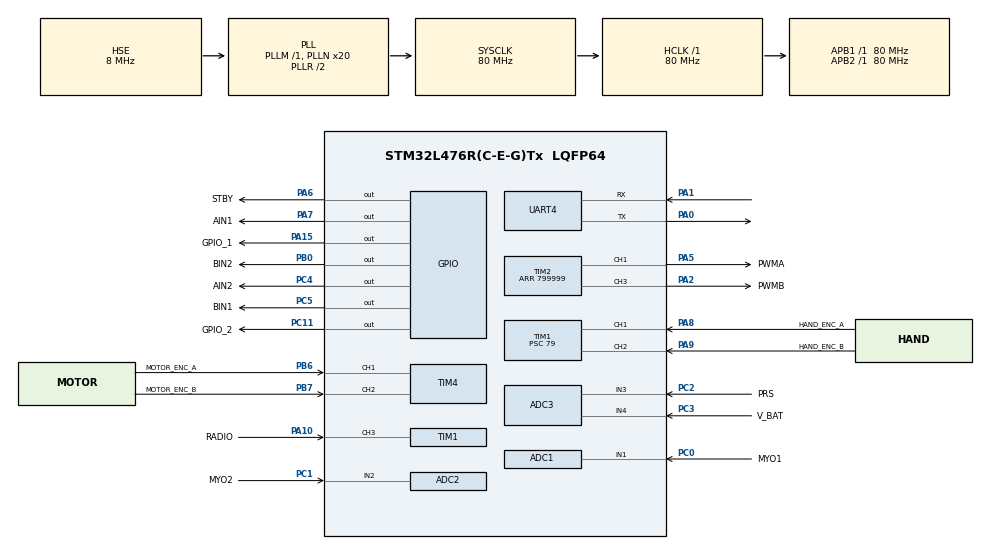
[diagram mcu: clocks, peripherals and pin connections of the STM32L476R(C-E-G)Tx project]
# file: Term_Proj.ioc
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ADC1.Channel-0\#ChannelRegularConversion=ADC_CHANNEL_1
ADC1.NbrOfConversionFlag=1
ADC1.OffsetNumber-0\#ChannelRegularConversion=ADC_OFFSET_NONE
ADC1.Rank-0\#ChannelRegularConversion=1
ADC1.SamplingTime-0\#ChannelRegularConversion=ADC_SAMPLETIME_2CYCLES_5
ADC1.master=1
ADC2.Channel-1\#ChannelRegularConversion=ADC_CHANNEL_2
ADC2.NbrOfConversionFlag=1
ADC2.OffsetNumber-1\#ChannelRegularConversion=ADC_OFFSET_NONE
ADC2.Rank-1\#ChannelRegularConversion=1
ADC2.SamplingTime-1\#ChannelRegularConversion=ADC_SAMPLETIME_2CYCLES_5
ADC3.Channel-0\#ChannelRegularConversion=ADC_CHANNEL_4
ADC3.NbrOfConversionFlag=1
ADC3.OffsetNumber-0\#ChannelRegularConversion=ADC_OFFSET_NONE
ADC3.Rank-0\#ChannelRegularConversion=1
ADC3.SamplingTime-0\#ChannelRegularConversion=ADC_SAMPLETIME_2CYCLES_5
Mcu.Family=STM32L4
Mcu.Name=STM32L476R(C-E-G)Tx
Mcu.Package=LQFP64
NVIC.PriorityGroup=NVIC_PRIORITYGROUP_4
NVIC.TIM1_CC_IRQn=true\:0\:0\:false\:false\:true\:true\:true\:true
PA0.Mode=Asynchronous
PA0.Signal=UART4_TX
PA1.Mode=Asynchronous
PA1.Signal=UART4_RX
PA10.GPIO_Label=RADIO
PA10.Signal=S_TIM1_CH3
PA13\ (JTMS-SWDIO).Mode=Trace_Asynchronous_SW
PA13\ (JTMS-SWDIO).Signal=SYS_JTMS-SWDIO
PA14\ (JTCK-SWCLK).Mode=Trace_Asynchronous_SW
PA14\ (JTCK-SWCLK).Signal=SYS_JTCK-SWCLK
PA15\ (JTDI).GPIO_Label=GPIO_1
PA15\ (JTDI).Signal=GPIO_Output
PA2.GPIO_Label=PWMB
PA2.Signal=S_TIM2_CH3
PA5.GPIO_Label=PWMA
PA5.Signal=S_TIM2_CH1
PA6.GPIO_Label=STBY
PA6.Signal=GPIO_Output
PA7.GPIO_Label=AIN1
PA7.Signal=GPIO_Output
PA8.GPIO_Label=HAND_ENC_A
PA8.Signal=S_TIM1_CH1
PA9.GPIO_Label=HAND_ENC_B
PA9.Signal=S_TIM1_CH2
PB0.GPIO_Label=BIN2
PB0.Signal=GPIO_Output
PB3\ (JTDO-TRACESWO).Mode=Trace_Asynchronous_SW
PB3\ (JTDO-TRACESWO).Signal=SYS_JTDO-SWO
PB6.GPIO_Label=MOTOR_ENC_A
PB6.Signal=S_TIM4_CH1
PB7.GPIO_Label=MOTOR_ENC_B
PB7.Signal=S_TIM4_CH2
PC0.GPIO_Label=MYO1
PC0.Signal=ADCx_IN1
PC1.GPIO_Label=MYO2
PC1.Signal=ADCx_IN2
PC11.GPIO_Label=GPIO_2
PC11.Signal=GPIO_Output
PC2.GPIO_Label=PRS
PC2.Signal=ADCx_IN3
PC3.GPIO_Label=V_BAT
PC3.Signal=ADCx_IN4
PC4.GPIO_Label=AIN2
PC4.Signal=GPIO_Output
PC5.GPIO_Label=BIN1
PC5.Signal=GPIO_Output
PH0-OSC_IN\ (PH0).Mode=HSE-External-Oscillator
PH0-OSC_IN\ (PH0).Signal=RCC_OSC_IN
PH1-OSC_OUT\ (PH1).Mode=HSE-External-Oscillator
PH1-OSC_OUT\ (PH1).Signal=RCC_OSC_OUT
ProjectManager.HeapSize=0x200
ProjectManager.StackSize=0x400
ProjectManager.TargetToolchain=STM32CubeIDE
RCC.ADCFreq_Value=32000000
RCC.AHBFreq_Value=80000000
RCC.APB1Freq_Value=80000000
RCC.APB1TimFreq_Value=80000000
RCC.APB2Freq_Value=80000000
RCC.APB2TimFreq_Value=80000000
RCC.CortexFreq_Value=80000000
RCC.HCLKFreq_Value=80000000
RCC.HSE_VALUE=8000000
RCC.HSI_VALUE=16000000
RCC.LSE_VALUE=32768
RCC.MSI_VALUE=4000000
RCC.PLLN=20
RCC.PLLSourceVirtual=RCC_PLLSOURCE_HSE
RCC.SYSCLKFreq_VALUE=80000000
RCC.SYSCLKSource=RCC_SYSCLKSOURCE_PLLCLK
RCC.USBFreq_Value=32000000
RCC.VCOOutputFreq_Value=160000000
SH.ADCx_IN1.0=ADC1_IN1,IN1-Single-Ended
SH.ADCx_IN2.0=ADC2_IN2,IN2-Single-Ended
SH.ADCx_IN3.0=ADC3_IN3,IN3-Single-Ended
SH.ADCx_IN4.0=ADC3_IN4,IN4-Single-Ended
SH.S_TIM1_CH1.0=TIM1_CH1,Encoder_Interface
SH.S_TIM1_CH2.0=TIM1_CH2,Encoder_Interface
SH.S_TIM1_CH3.0=TIM1_CH3,Input_Capture3_from_TI3
SH.S_TIM2_CH1.0=TIM2_CH1,PWM Generation1 CH1
SH.S_TIM2_CH3.0=TIM2_CH3,PWM Generation3 CH3
SH.S_TIM4_CH1.0=TIM4_CH1,Encoder_Interface
SH.S_TIM4_CH2.0=TIM4_CH2,Encoder_Interface
TIM1.Channel-Input_Capture3_from_TI3=TIM_CHANNEL_3
TIM1.Channel-Input_Capture4_from_TI3_63=TIM_CHANNEL_4
TIM1.ICPolarity_CH4=TIM_INPUTCHANNELPOLARITY_FALLING
TIM1.Prescaler=79
TIM2.Channel-PWM\ Generation1\ CH1=TIM_CHANNEL_1
TIM2.Channel-PWM\ Generation3\ CH3=TIM_CHANNEL_3
TIM2.Period=799999
VP_TIM1_VS_indirect_ch3.Mode=Input_Capture4_from_TI3_63
board=custom

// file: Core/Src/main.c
/* USER CODE BEGIN Header */
/**
  ******************************************************************************
  * @file           : main.c
  * @brief          : Main program body for the ME 507 term project. The main contents of this file is the finite state machine that
  * 				  controls the prosthetic hand operation. This includes the tasks to open and close the hand, spin the hand, and
  * 				  gather an interpret data from the myoelectric and pressure sensors. Lastly, there is a task to check for an
  * 				  emergency stop signal from a radio transmitter device.
  *
  ******************************************************************************
  * @attention
  *
  * Copyright (c) 2024 STMicroelectronics.
  * All rights reserved.
  *
  * This software is licensed under terms that can be found in the LICENSE file
  * in the root directory of this software component.
  * If no LICENSE file comes with this software, it is provided AS-IS.
  *
  ******************************************************************************
  */
/* USER CODE END Header */
#include "main.h"

/* USER CODE BEGIN Includes */
#include "controller.h"
#include "radio.h"
#include "myo.h"
#include "encoder_reader.h"
#include <stdio.h>
#include "stm32l4xx_hal.h"
#include <stdint.h>
#include <string.h>
#include <ctype.h>
#include <stdlib.h>

/* USER CODE END Includes */

ADC_HandleTypeDef hadc1;
ADC_HandleTypeDef hadc2;
ADC_HandleTypeDef hadc3;

TIM_HandleTypeDef htim1;
TIM_HandleTypeDef htim2;
TIM_HandleTypeDef htim4;

UART_HandleTypeDef huart4;

/* USER CODE BEGIN PV */

//initialize all objects

//create motor objects

motor_t hand_mot = {.pwm_val    = 0,
			.pwm_channel = TIM_CHANNEL_1,
			.hal_tim = &htim2,
			.in_pin_1 = AIN1_Pin,
			.in_pin_2 = AIN2_Pin,
			.stby_pin = STBY_Pin,
			.port_in_1 = GPIOA,
			.port_in_2 = GPIOC,
			.port_stby_pin = GPIOA};

motor_t spin_mot = {.pwm_val    = 0,
				.pwm_channel = TIM_CHANNEL_3,
				.hal_tim = &htim2,
				.in_pin_1 = BIN1_Pin,
				.in_pin_2 = BIN2_Pin,
				.stby_pin = STBY_Pin,
				.port_in_1 = GPIOC,
				.port_in_2 = BIN2_GPIO_Port,
				.port_stby_pin = GPIOA};

//create encoder objects

encoder_t hand_enc = {.channel1 = TIM_CHANNEL_1,
					  .channel2 = TIM_CHANNEL_2,
					  .hal_tim = &htim1,
					  .mot_pos = 0,
					  .curr_count = 0,
					  .prev_count = 0,
					  .delta = 0};

encoder_t spin_enc = {.channel1 = TIM_CHANNEL_1,
					  .channel2 = TIM_CHANNEL_2,
					  .hal_tim = &htim4,
				      .mot_pos = 0,
					  .curr_count = 0,
					  .prev_count = 0,
					  .delta = 0};

//create controller objects

controller_t hand_cont = {.p_mot = &hand_mot,
						  .p_enc = &hand_enc,
						  .gain = 1,
						  .setpoint = 0};

controller_t spin_cont = {.p_mot = &spin_mot,
		  	  	  	  	  .p_enc = &spin_enc,
						  .gain = 1,
						  .setpoint = 0};

//create myo electric sensor objects
myo_t hmyo = {.hal_adc = &hadc1,
	  	  	  .prev_value = 0,
			  .current_value = 0};

myo_t smyo = {.hal_adc = &hadc2,
	  	  	  .prev_value = 0,
			  .current_value = 0};

//initialize variables

uint16_t ch1_val;
uint16_t ch2_val;
uint16_t ch1_p;
uint16_t ch2_p;
uint16_t radio_pulse;
uint16_t m2_d;
int16_t hand_mot_pos = 0;
int16_t spin_mot_pos = 0;
uint16_t hmyo_curr = 0;
uint16_t hmyo_prev = 0;
uint16_t smyo_curr = 0;
uint16_t smyo_prev = 0;
uint16_t hmyo_delta = 0;
uint16_t smyo_delta = 0;
char tst_buff[150];
int m;

/* USER CODE END PV */

void SystemClock_Config(void);
void PeriphCommonClock_Config(void);
static void MX_GPIO_Init(void);
static void MX_ADC1_Init(void);
static void MX_ADC2_Init(void);
static void MX_ADC3_Init(void);
static void MX_TIM2_Init(void);
static void MX_TIM1_Init(void);
static void MX_TIM4_Init(void);
static void MX_UART4_Init(void);

/* USER CODE BEGIN 0 */

/**
 * @brief Task 1, the hand task, is responsible for moving the prosthetic hand fingers based on the
 * 		  set point determined by the myoelectric sensor.
 */
// Task 1 - HAND TASK
void task1(void) {
	static int currentState = 0;
	static char print_buff[150];
	static int n;

	// State 0 - INIT
	if (currentState == 0) {

		n = sprintf(print_buff,"\n\rTask 1, State 0\n");
		//change back to huart4
		HAL_UART_Transmit(&huart4,print_buff,n,400);

		//init the motor driver PWM channel and the
		//the encoder channels
		controller_init(&hand_cont);

		//initialize the motor to be at rest
		set_duty(&hand_mot,0);

		currentState = 1;}

	//State 1 - INTERPRET MYO
	else if (currentState == 1) {

		n = sprintf(print_buff,"\n\rTask 1, State 1\n");
		//HAL_UART_Transmit(&huart4,print_buff,n,400);

		hmyo_prev = hmyo_curr;
		hmyo_curr = read_current(&hmyo);
		hmyo_delta = hmyo_curr - hmyo_prev;

		if(abs(hmyo_delta) > 50){

			currentState = 2;
		}

	}

	//State 2 - MOVE MYO
	else if (currentState == 2) {

		n = sprintf(print_buff,"\n\rTask 1, State 2\n");
		//HAL_UART_Transmit(&huart4,print_buff,n,400);

		hand_mot_pos += hmyo_delta; //probably need some sort of scaling factor here

		//make sure the position value does not exceed the desired limits
		if(hand_mot_pos > 300)//set max value for the motor position here
		{
			hand_mot_pos = 300;
		}
		else if (hand_mot_pos < 0)
		{
			hand_mot_pos = 0;
		}

		set_setpoint(&hand_cont, hand_mot_pos);

		move(&hand_cont);

		//need to tune this pwm value (5 may be too small)

		if(move(&hand_cont) < 5){

			currentState = 1;
		}
		}

	else {
		n = sprintf(print_buff,"\n\rTask 1, Invalid State. Reset to State 1\n");
		//HAL_UART_Transmit(&huart4,print_buff,n,400);

		currentState = 1;}
}

/**
 * @brief Task 2, the spin motor task, is responsible for rotating the prosthetic hand based
 * 		  on the set point determined by the myoelectric sensor alone.
 */
// Task 2 - SPIN MOTOR TASK
void task2(void) {
	static int currentState = 0;
	static char print_buff[150];
	static int n;

	// State 0 - INIT
	if (currentState == 0) {

		n = sprintf(print_buff,"\n\rTask 2, State 0\n");
		//change back to huart4
		HAL_UART_Transmit(&huart4,print_buff,n,400);

		//initiaize the motor driver PWM channel and the
		//the encoder channels
		controller_init(&spin_cont);

		//initialize the motor to be at rest
		set_duty(&spin_mot,0);

		currentState = 1;}

	//State 1 - INTERPRET MYO
	else if (currentState == 1) {

		n = sprintf(print_buff,"\n\rTask 2, State 1\n");
		//HAL_UART_Transmit(&huart4,print_buff,n,400);

		//get the muscle sensor delta

		smyo_prev = smyo_curr;
		smyo_curr = read_current(&smyo);
		smyo_delta = smyo_curr - smyo_prev;

		//tune this delta value
			if(abs(smyo_delta) > 50){

					currentState = 2;
				}
		}

	//State 2 - MOVE
	else if (currentState == 2) {

		n = sprintf(print_buff,"\n\rTask 2, State 2\n");
		//HAL_UART_Transmit(&huart4,print_buff,n,400);

		spin_mot_pos += smyo_delta; //probably need some sort of scaling factor here

		//make sure the position value does not exceed the desired limits
		if(spin_mot_pos > 300)//set max value for the motor position here
				{
					spin_mot_pos = 300;
				}
	    else if (spin_mot_pos < 0)
				{
					spin_mot_pos = 0; //this should be the at rest position of the device
				}

		set_setpoint(&spin_cont, spin_mot_pos);

		move(&spin_cont);

		//need to tune this pwm value (5 may be too small)
		if(move(&spin_cont) < 5){

					currentState = 1;
				}
	}

	else {
		n = sprintf(print_buff,"\n\rTask 2, Invalid State. Reset to State 1\n");
		//HAL_UART_Transmit(&huart4,print_buff,n,400);
		currentState = 1;}
}

/**
 * @brief Task 3, the wireless emergency stop task, is responsible for monitoring for a change in the
 * 	      PWM signal from a radio transmitter. If a change is detected, this task will end the program.
 */
// Task 3 - WIRELESS E STOP TASK
void task3(void) {
	static int currentState = 0;
	static char print_buff[150];
	static int n;

	// State 0 - INIT
	if (currentState == 0) {

		n = sprintf(print_buff,"\n\rTask 3, State 0\n");
		HAL_UART_Transmit(&huart4,print_buff,n,400);

		HAL_TIM_IC_Start_IT (&htim1, TIM_CHANNEL_3);
		HAL_TIM_IC_Start_IT (&htim1, TIM_CHANNEL_4);

		currentState = 1;}

	//State 1 - WAIT FOR SIG
	else if (currentState == 1) {

		n = sprintf(print_buff,"\n\rTask 3, State 1\n");
		//HAL_UART_Transmit(&huart4,print_buff,n,400);

		if(check_delta(radio_pulse) == 1)
			  {
				currentState = 2;
			  }
}

	//State 2 - STOP
	else if (currentState == 2) {

		n = sprintf(print_buff,"\n\rTask 3, State 2 EMERGENCY STOP\n");
		//HAL_UART_Transmit(&huart4,print_buff,n,400);

		//call deinit commands
		controller_deinit(&hand_cont);
		controller_deinit(&spin_cont);
		set_stby(&hand_mot,0);
		set_stby(&spin_mot,0);

		}

	else {
		n = sprintf(print_buff,"\n\rTask 3, Invalid State. Reset to State 1\n");
		//HAL_UART_Transmit(&huart4,print_buff,n,400);
		currentState = 1;
	}
}

/* USER CODE END 0 */

int main(void)
{

  /* MCU Configuration--------------------------------------------------------*/

  /* Reset of all peripherals, Initializes the Flash interface and the Systick. */
  HAL_Init();

  /* Configure the system clock */
  SystemClock_Config();

/* Configure the peripherals common clocks */
  PeriphCommonClock_Config();

  /* Initialize all configured peripherals */
  MX_GPIO_Init();
  MX_ADC1_Init();
  MX_ADC2_Init();
  MX_ADC3_Init();
  MX_TIM2_Init();
  MX_TIM1_Init();
  MX_TIM4_Init();
  MX_UART4_Init();
  /* USER CODE BEGIN 2 */

  //init_channels(&spin_enc);

  //Init motors and set duty
  //start_PWM(&spin_mot);
  //set_duty(&spin_mot,7000);

  /* USER CODE END 2 */

  /* Infinite loop */
  /* USER CODE BEGIN WHILE */
  while (1)
  {
	  //Continuously run the FSM

	 	  // Execute task 1
	 	  task1();

	 	  // Execute task 2
	 	  task2();

	 	  // Execute task 3
	 	  task3();

	 	  //test encoder
	 	  //note: not sure if I need to do the get pos thing or not. the get counter thing
	 	  //works pretty well already

	 	  //spin_mot_count = __HAL_TIM_GET_COUNTER(&htim4);
	 	  //spin_mot_count = get_pos(&spin_enc);
	 	  //m = sprintf(tst_buff,"\n\rThe encoder count is %d\n",spin_mot_count);
	 	  //HAL_UART_Transmit(&huart4,tst_buff,m,400);

	 	  //test muscle sensor
	 	 hmyo_curr = read_current(&hmyo);
	 	 m = sprintf(tst_buff,"\n\rThe myo output is %d\n",hmyo_curr);
	 	 HAL_UART_Transmit(&huart4,tst_buff,m,400);

	 	  //HAL_Delay(1000);

  }
    /* USER CODE END WHILE */

}

void SystemClock_Config(void)
{
  RCC_OscInitTypeDef RCC_OscInitStruct = {0};
  RCC_ClkInitTypeDef RCC_ClkInitStruct = {0};

  /** Configure the main internal regulator output voltage
  */
  if (HAL_PWREx_ControlVoltageScaling(PWR_REGULATOR_VOLTAGE_SCALE1) != HAL_OK)
  {
    Error_Handler();
  }

  /** Initializes the RCC Oscillators according to the specified parameters
  * in the RCC_OscInitTypeDef structure.
  */
  RCC_OscInitStruct.OscillatorType = RCC_OSCILLATORTYPE_HSE;
  RCC_OscInitStruct.HSEState = RCC_HSE_ON;
  RCC_OscInitStruct.PLL.PLLState = RCC_PLL_ON;
  RCC_OscInitStruct.PLL.PLLSource = RCC_PLLSOURCE_HSE;
  RCC_OscInitStruct.PLL.PLLM = 1;
  RCC_OscInitStruct.PLL.PLLN = 20;
  RCC_OscInitStruct.PLL.PLLP = RCC_PLLP_DIV7;
  RCC_OscInitStruct.PLL.PLLQ = RCC_PLLQ_DIV2;
  RCC_OscInitStruct.PLL.PLLR = RCC_PLLR_DIV2;
  if (HAL_RCC_OscConfig(&RCC_OscInitStruct) != HAL_OK)
  {
    Error_Handler();
  }

  /** Initializes the CPU, AHB and APB buses clocks
  */
  RCC_ClkInitStruct.ClockType = RCC_CLOCKTYPE_HCLK|RCC_CLOCKTYPE_SYSCLK
                              |RCC_CLOCKTYPE_PCLK1|RCC_CLOCKTYPE_PCLK2;
  RCC_ClkInitStruct.SYSCLKSource = RCC_SYSCLKSOURCE_PLLCLK;
  RCC_ClkInitStruct.AHBCLKDivider = RCC_SYSCLK_DIV1;
  RCC_ClkInitStruct.APB1CLKDivider = RCC_HCLK_DIV1;
  RCC_ClkInitStruct.APB2CLKDivider = RCC_HCLK_DIV1;

  if (HAL_RCC_ClockConfig(&RCC_ClkInitStruct, FLASH_LATENCY_4) != HAL_OK)
  {
    Error_Handler();
  }
}

void PeriphCommonClock_Config(void)
{
  RCC_PeriphCLKInitTypeDef PeriphClkInit = {0};

  /** Initializes the peripherals clock
  */
  PeriphClkInit.PeriphClockSelection = RCC_PERIPHCLK_ADC;
  PeriphClkInit.AdcClockSelection = RCC_ADCCLKSOURCE_PLLSAI1;
  PeriphClkInit.PLLSAI1.PLLSAI1Source = RCC_PLLSOURCE_HSE;
  PeriphClkInit.PLLSAI1.PLLSAI1M = 1;
  PeriphClkInit.PLLSAI1.PLLSAI1N = 8;
  PeriphClkInit.PLLSAI1.PLLSAI1P = RCC_PLLP_DIV7;
  PeriphClkInit.PLLSAI1.PLLSAI1Q = RCC_PLLQ_DIV2;
  PeriphClkInit.PLLSAI1.PLLSAI1R = RCC_PLLR_DIV2;
  PeriphClkInit.PLLSAI1.PLLSAI1ClockOut = RCC_PLLSAI1_ADC1CLK;
  if (HAL_RCCEx_PeriphCLKConfig(&PeriphClkInit) != HAL_OK)
  {
    Error_Handler();
  }
}

static void MX_ADC1_Init(void)
{

  ADC_MultiModeTypeDef multimode = {0};
  ADC_ChannelConfTypeDef sConfig = {0};

  /** Common config
  */
  hadc1.Instance = ADC1;
  hadc1.Init.ClockPrescaler = ADC_CLOCK_ASYNC_DIV1;
  hadc1.Init.Resolution = ADC_RESOLUTION_12B;
  hadc1.Init.DataAlign = ADC_DATAALIGN_RIGHT;
  hadc1.Init.ScanConvMode = ADC_SCAN_DISABLE;
  hadc1.Init.EOCSelection = ADC_EOC_SINGLE_CONV;
  hadc1.Init.LowPowerAutoWait = DISABLE;
  hadc1.Init.ContinuousConvMode = DISABLE;
  hadc1.Init.NbrOfConversion = 1;
  hadc1.Init.DiscontinuousConvMode = DISABLE;
  hadc1.Init.ExternalTrigConv = ADC_SOFTWARE_START;
  hadc1.Init.ExternalTrigConvEdge = ADC_EXTERNALTRIGCONVEDGE_NONE;
  hadc1.Init.DMAContinuousRequests = DISABLE;
  hadc1.Init.Overrun = ADC_OVR_DATA_PRESERVED;
  hadc1.Init.OversamplingMode = DISABLE;
  if (HAL_ADC_Init(&hadc1) != HAL_OK)
  {
    Error_Handler();
  }

  /** Configure the ADC multi-mode
  */
  multimode.Mode = ADC_MODE_INDEPENDENT;
  if (HAL_ADCEx_MultiModeConfigChannel(&hadc1, &multimode) != HAL_OK)
  {
    Error_Handler();
  }

  /** Configure Regular Channel
  */
  sConfig.Channel = ADC_CHANNEL_1;
  sConfig.Rank = ADC_REGULAR_RANK_1;
  sConfig.SamplingTime = ADC_SAMPLETIME_2CYCLES_5;
  sConfig.SingleDiff = ADC_SINGLE_ENDED;
  sConfig.OffsetNumber = ADC_OFFSET_NONE;
  sConfig.Offset = 0;
  if (HAL_ADC_ConfigChannel(&hadc1, &sConfig) != HAL_OK)
  {
    Error_Handler();
  }

}

static void MX_ADC2_Init(void)
{

  ADC_ChannelConfTypeDef sConfig = {0};

  /** Common config
  */
  hadc2.Instance = ADC2;
  hadc2.Init.ClockPrescaler = ADC_CLOCK_ASYNC_DIV1;
  hadc2.Init.Resolution = ADC_RESOLUTION_12B;
  hadc2.Init.DataAlign = ADC_DATAALIGN_RIGHT;
  hadc2.Init.ScanConvMode = ADC_SCAN_DISABLE;
  hadc2.Init.EOCSelection = ADC_EOC_SINGLE_CONV;
  hadc2.Init.LowPowerAutoWait = DISABLE;
  hadc2.Init.ContinuousConvMode = DISABLE;
  hadc2.Init.NbrOfConversion = 1;
  hadc2.Init.DiscontinuousConvMode = DISABLE;
  hadc2.Init.ExternalTrigConv = ADC_SOFTWARE_START;
  hadc2.Init.ExternalTrigConvEdge = ADC_EXTERNALTRIGCONVEDGE_NONE;
  hadc2.Init.DMAContinuousRequests = DISABLE;
  hadc2.Init.Overrun = ADC_OVR_DATA_PRESERVED;
  hadc2.Init.OversamplingMode = DISABLE;
  if (HAL_ADC_Init(&hadc2) != HAL_OK)
  {
    Error_Handler();
  }

  /** Configure Regular Channel
  */
  sConfig.Channel = ADC_CHANNEL_2;
  sConfig.Rank = ADC_REGULAR_RANK_1;
  sConfig.SamplingTime = ADC_SAMPLETIME_2CYCLES_5;
  sConfig.SingleDiff = ADC_SINGLE_ENDED;
  sConfig.OffsetNumber = ADC_OFFSET_NONE;
  sConfig.Offset = 0;
  if (HAL_ADC_ConfigChannel(&hadc2, &sConfig) != HAL_OK)
  {
    Error_Handler();
  }

}

static void MX_ADC3_Init(void)
{

  ADC_ChannelConfTypeDef sConfig = {0};

  /** Common config
  */
  hadc3.Instance = ADC3;
  hadc3.Init.ClockPrescaler = ADC_CLOCK_ASYNC_DIV1;
  hadc3.Init.Resolution = ADC_RESOLUTION_12B;
  hadc3.Init.DataAlign = ADC_DATAALIGN_RIGHT;
  hadc3.Init.ScanConvMode = ADC_SCAN_DISABLE;
  hadc3.Init.EOCSelection = ADC_EOC_SINGLE_CONV;
  hadc3.Init.LowPowerAutoWait = DISABLE;
  hadc3.Init.ContinuousConvMode = DISABLE;
  hadc3.Init.NbrOfConversion = 1;
  hadc3.Init.DiscontinuousConvMode = DISABLE;
  hadc3.Init.ExternalTrigConv = ADC_SOFTWARE_START;
  hadc3.Init.ExternalTrigConvEdge = ADC_EXTERNALTRIGCONVEDGE_NONE;
  hadc3.Init.DMAContinuousRequests = DISABLE;
  hadc3.Init.Overrun = ADC_OVR_DATA_PRESERVED;
  hadc3.Init.OversamplingMode = DISABLE;
  if (HAL_ADC_Init(&hadc3) != HAL_OK)
  {
    Error_Handler();
  }

  /** Configure Regular Channel
  */
  sConfig.Channel = ADC_CHANNEL_4;
  sConfig.Rank = ADC_REGULAR_RANK_1;
  sConfig.SamplingTime = ADC_SAMPLETIME_2CYCLES_5;
  sConfig.SingleDiff = ADC_SINGLE_ENDED;
  sConfig.OffsetNumber = ADC_OFFSET_NONE;
  sConfig.Offset = 0;
  if (HAL_ADC_ConfigChannel(&hadc3, &sConfig) != HAL_OK)
  {
    Error_Handler();
  }

}

static void MX_TIM1_Init(void)
{

  TIM_Encoder_InitTypeDef sConfig = {0};
  TIM_MasterConfigTypeDef sMasterConfig = {0};
  TIM_IC_InitTypeDef sConfigIC = {0};

  htim1.Instance = TIM1;
  htim1.Init.Prescaler = 79;
  htim1.Init.CounterMode = TIM_COUNTERMODE_UP;
  htim1.Init.Period = 65535;
  htim1.Init.ClockDivision = TIM_CLOCKDIVISION_DIV1;
  htim1.Init.RepetitionCounter = 0;
  htim1.Init.AutoReloadPreload = TIM_AUTORELOAD_PRELOAD_DISABLE;
  if (HAL_TIM_IC_Init(&htim1) != HAL_OK)
  {
    Error_Handler();
  }
  sConfig.EncoderMode = TIM_ENCODERMODE_TI1;
  sConfig.IC1Polarity = TIM_ICPOLARITY_RISING;
  sConfig.IC1Selection = TIM_ICSELECTION_DIRECTTI;
  sConfig.IC1Prescaler = TIM_ICPSC_DIV1;
  sConfig.IC1Filter = 0;
  sConfig.IC2Polarity = TIM_ICPOLARITY_RISING;
  sConfig.IC2Selection = TIM_ICSELECTION_DIRECTTI;
  sConfig.IC2Prescaler = TIM_ICPSC_DIV1;
  sConfig.IC2Filter = 0;
  if (HAL_TIM_Encoder_Init(&htim1, &sConfig) != HAL_OK)
  {
    Error_Handler();
  }
  sMasterConfig.MasterOutputTrigger = TIM_TRGO_RESET;
  sMasterConfig.MasterOutputTrigger2 = TIM_TRGO2_RESET;
  sMasterConfig.MasterSlaveMode = TIM_MASTERSLAVEMODE_DISABLE;
  if (HAL_TIMEx_MasterConfigSynchronization(&htim1, &sMasterConfig) != HAL_OK)
  {
    Error_Handler();
  }
  sConfigIC.ICPolarity = TIM_INPUTCHANNELPOLARITY_RISING;
  sConfigIC.ICSelection = TIM_ICSELECTION_DIRECTTI;
  sConfigIC.ICPrescaler = TIM_ICPSC_DIV1;
  sConfigIC.ICFilter = 0;
  if (HAL_TIM_IC_ConfigChannel(&htim1, &sConfigIC, TIM_CHANNEL_3) != HAL_OK)
  {
    Error_Handler();
  }
  sConfigIC.ICPolarity = TIM_INPUTCHANNELPOLARITY_FALLING;
  sConfigIC.ICSelection = TIM_ICSELECTION_INDIRECTTI;
  if (HAL_TIM_IC_ConfigChannel(&htim1, &sConfigIC, TIM_CHANNEL_4) != HAL_OK)
  {
    Error_Handler();
  }

}

static void MX_TIM2_Init(void)
{

  TIM_MasterConfigTypeDef sMasterConfig = {0};
  TIM_OC_InitTypeDef sConfigOC = {0};

  htim2.Instance = TIM2;
  htim2.Init.Prescaler = 0;
  htim2.Init.CounterMode = TIM_COUNTERMODE_UP;
  htim2.Init.Period = 799999;
  htim2.Init.ClockDivision = TIM_CLOCKDIVISION_DIV1;
  htim2.Init.AutoReloadPreload = TIM_AUTORELOAD_PRELOAD_DISABLE;
  if (HAL_TIM_PWM_Init(&htim2) != HAL_OK)
  {
    Error_Handler();
  }
  sMasterConfig.MasterOutputTrigger = TIM_TRGO_RESET;
  sMasterConfig.MasterSlaveMode = TIM_MASTERSLAVEMODE_DISABLE;
  if (HAL_TIMEx_MasterConfigSynchronization(&htim2, &sMasterConfig) != HAL_OK)
  {
    Error_Handler();
  }
  sConfigOC.OCMode = TIM_OCMODE_PWM1;
  sConfigOC.Pulse = 0;
  sConfigOC.OCPolarity = TIM_OCPOLARITY_HIGH;
  sConfigOC.OCFastMode = TIM_OCFAST_DISABLE;
  if (HAL_TIM_PWM_ConfigChannel(&htim2, &sConfigOC, TIM_CHANNEL_1) != HAL_OK)
  {
    Error_Handler();
  }
  if (HAL_TIM_PWM_ConfigChannel(&htim2, &sConfigOC, TIM_CHANNEL_3) != HAL_OK)
  {
    Error_Handler();
  }
  HAL_TIM_MspPostInit(&htim2);

}

static void MX_TIM4_Init(void)
{

  TIM_Encoder_InitTypeDef sConfig = {0};
  TIM_MasterConfigTypeDef sMasterConfig = {0};

  htim4.Instance = TIM4;
  htim4.Init.Prescaler = 0;
  htim4.Init.CounterMode = TIM_COUNTERMODE_UP;
  htim4.Init.Period = 65535;
  htim4.Init.ClockDivision = TIM_CLOCKDIVISION_DIV1;
  htim4.Init.AutoReloadPreload = TIM_AUTORELOAD_PRELOAD_DISABLE;
  sConfig.EncoderMode = TIM_ENCODERMODE_TI1;
  sConfig.IC1Polarity = TIM_ICPOLARITY_RISING;
  sConfig.IC1Selection = TIM_ICSELECTION_DIRECTTI;
  sConfig.IC1Prescaler = TIM_ICPSC_DIV1;
  sConfig.IC1Filter = 0;
  sConfig.IC2Polarity = TIM_ICPOLARITY_RISING;
  sConfig.IC2Selection = TIM_ICSELECTION_DIRECTTI;
  sConfig.IC2Prescaler = TIM_ICPSC_DIV1;
  sConfig.IC2Filter = 0;
  if (HAL_TIM_Encoder_Init(&htim4, &sConfig) != HAL_OK)
  {
    Error_Handler();
  }
  sMasterConfig.MasterOutputTrigger = TIM_TRGO_RESET;
  sMasterConfig.MasterSlaveMode = TIM_MASTERSLAVEMODE_DISABLE;
  if (HAL_TIMEx_MasterConfigSynchronization(&htim4, &sMasterConfig) != HAL_OK)
  {
    Error_Handler();
  }

}

static void MX_UART4_Init(void)
{

  huart4.Instance = UART4;
  huart4.Init.BaudRate = 115200;
  huart4.Init.WordLength = UART_WORDLENGTH_8B;
  huart4.Init.StopBits = UART_STOPBITS_1;
  huart4.Init.Parity = UART_PARITY_NONE;
  huart4.Init.Mode = UART_MODE_TX_RX;
  huart4.Init.HwFlowCtl = UART_HWCONTROL_NONE;
  huart4.Init.OverSampling = UART_OVERSAMPLING_16;
  huart4.Init.OneBitSampling = UART_ONE_BIT_SAMPLE_DISABLE;
  huart4.AdvancedInit.AdvFeatureInit = UART_ADVFEATURE_NO_INIT;
  if (HAL_UART_Init(&huart4) != HAL_OK)
  {
    Error_Handler();
  }

}

static void MX_GPIO_Init(void)
{
  GPIO_InitTypeDef GPIO_InitStruct = {0};

  /* GPIO Ports Clock Enable */
  __HAL_RCC_GPIOH_CLK_ENABLE();
  __HAL_RCC_GPIOC_CLK_ENABLE();
  __HAL_RCC_GPIOA_CLK_ENABLE();
  __HAL_RCC_GPIOB_CLK_ENABLE();

  /*Configure GPIO pin Output Level */
  HAL_GPIO_WritePin(GPIOA, STBY_Pin|AIN1_Pin|GPIO_1_Pin, GPIO_PIN_RESET);

  /*Configure GPIO pin Output Level */
  HAL_GPIO_WritePin(GPIOC, AIN2_Pin|BIN1_Pin|GPIO_2_Pin, GPIO_PIN_RESET);

  /*Configure GPIO pin Output Level */
  HAL_GPIO_WritePin(BIN2_GPIO_Port, BIN2_Pin, GPIO_PIN_RESET);

  /*Configure GPIO pins : STBY_Pin AIN1_Pin GPIO_1_Pin */
  GPIO_InitStruct.Pin = STBY_Pin|AIN1_Pin|GPIO_1_Pin;
  GPIO_InitStruct.Mode = GPIO_MODE_OUTPUT_PP;
  GPIO_InitStruct.Pull = GPIO_NOPULL;
  GPIO_InitStruct.Speed = GPIO_SPEED_FREQ_LOW;
  HAL_GPIO_Init(GPIOA, &GPIO_InitStruct);

  /*Configure GPIO pins : AIN2_Pin BIN1_Pin GPIO_2_Pin */
  GPIO_InitStruct.Pin = AIN2_Pin|BIN1_Pin|GPIO_2_Pin;
  GPIO_InitStruct.Mode = GPIO_MODE_OUTPUT_PP;
  GPIO_InitStruct.Pull = GPIO_NOPULL;
  GPIO_InitStruct.Speed = GPIO_SPEED_FREQ_LOW;
  HAL_GPIO_Init(GPIOC, &GPIO_InitStruct);

  /*Configure GPIO pin : BIN2_Pin */
  GPIO_InitStruct.Pin = BIN2_Pin;
  GPIO_InitStruct.Mode = GPIO_MODE_OUTPUT_PP;
  GPIO_InitStruct.Pull = GPIO_NOPULL;
  GPIO_InitStruct.Speed = GPIO_SPEED_FREQ_LOW;
  HAL_GPIO_Init(BIN2_GPIO_Port, &GPIO_InitStruct);

}

/* USER CODE BEGIN 4 */

/**
  * @brief  Input Capture callback in non-blocking mode
  * @param  htim TIM IC handle
  * @retval None
  */
void HAL_TIM_IC_CaptureCallback(TIM_HandleTypeDef *htim)
{
  /* Prevent unused argument(s) compilation warning */
  UNUSED(htim);

  /* NOTE : This function should not be modified, when the callback is needed,
   *
            the HAL_TIM_IC_CaptureCallback could be implemented in the user file
   */
  //if (htim->Channel == HAL_TIM_ACTIVE_CHANNEL_2) {
          //store the previous value and read the captured value from the input capture register
	  	  //ch1_p = HAL_TIM_ReadCapturedValue(htim, TIM_CHANNEL_1);
	      //ch1_val = HAL_TIM_ReadCapturedValue(htim, TIM_CHANNEL_2);

	      //calculate the width of the pwm pulse generated by the radio transmitter
	     // radio_pulse = ch1_val - ch1_p;
  //}
  if (htim->Channel == HAL_TIM_ACTIVE_CHANNEL_4) {
	      //store the previous value and read the captured value from the input capture register
	  	  ch2_p = HAL_TIM_ReadCapturedValue(htim, TIM_CHANNEL_3);
	      ch2_val = HAL_TIM_ReadCapturedValue(htim, TIM_CHANNEL_4);

	      //calculate the width of the pwm pulse generated by the radio transmitter
	     radio_pulse = ch2_val - ch2_p;
  }

}

/* USER CODE END 4 */

void Error_Handler(void)
{
  __disable_irq();
  while (1)
  {
  }
}
